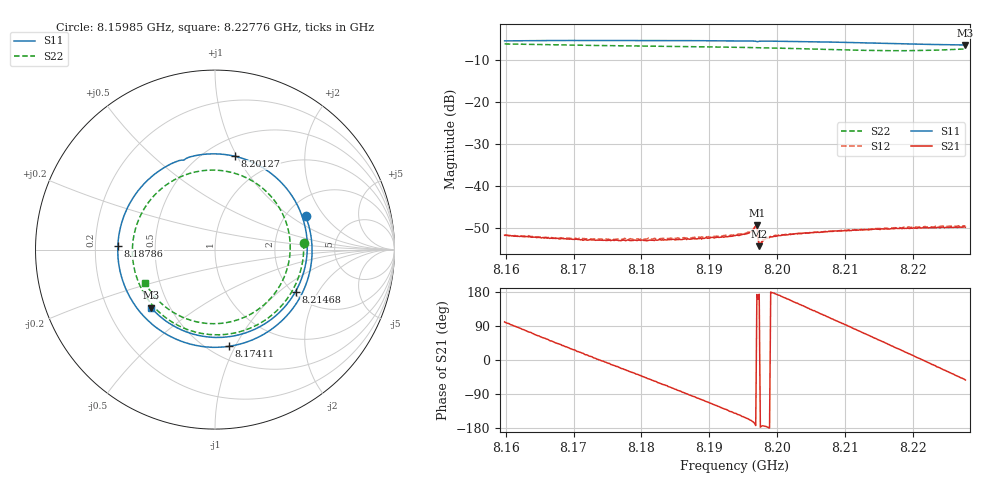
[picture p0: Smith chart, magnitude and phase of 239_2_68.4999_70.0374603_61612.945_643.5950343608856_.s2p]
#  HZ  S  RI  R  50.00
! Rohde & Schwarz Vector Network Analyzer
! Rohde-Schwarz,ZNB20-2Port,1311601062101988,3.16
! Created: UTC 3/20/2024, 4:59:16 PM
! freq[Hz]  re:S11  im:S11  re:S21  im:S21  re:S12  im:S12  re:S22  im:S22
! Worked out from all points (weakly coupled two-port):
!   401 points, 8.15985 GHz to 8.22776 GHz, reference 50 ohm
!   highest |S21| = -49.34 dB at 8.19703 GHz (marker M1); lowest = -54.3 dB at 8.19737 GHz (marker M2)
!   lowest |S11| = -6.4 dB at 8.22776 GHz (marker M3), VSWR 2.85, Z = 19.8 - j16.6 ohm
!   |S11| at or under -10 dB: nowhere
!   |S22| runs from -7.7 to -6.1 dB; largest |S21 - S12| = 0.00023
!   S11 on the Smith chart (normalised r, x): 8.15985 GHz: 2.54, +1.33; 8.17411 GHz: 0.62, -0.95; 8.18786 GHz: 0.30, +0.02; 8.20127 GHz: 0.68, +0.98; 8.21468 GHz: 2.07, -1.31; 8.22776 GHz: 0.40, -0.33
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8.159847e9  0.5053 0.1857  -0.000472 0.00255  -0.00046 0.00252  0.4938 0.0352
8.16528e9  0.5145 -0.1724  0.00118 0.00209  0.00117 0.00213  0.4038 -0.2714
8.171222e9  0.2651 -0.4756  0.00218 0.000727  0.00224 0.000775  0.1225 -0.4616
8.174108e9  0.0798 -0.5386  0.00226 -7.99e-05  0.00233 -5.56e-05  -0.0419 -0.4717
8.178182e9  -0.1949 -0.508  0.00196 -0.00112  0.00202 -0.00114  -0.2567 -0.392
8.182596e9  -0.4349 -0.3257  0.00113 -0.00199  0.00112 -0.00206  -0.4157 -0.206
8.187859e9  -0.5415 0.0181  -0.000284 -0.00233  -0.000336 -0.00243  -0.4516 0.0798
8.190746e9  -0.4964 0.2138  -0.00112 -0.00212  -0.00126 -0.00216  -0.394 0.2285
8.193802e9  -0.3737 0.3883  -0.00197 -0.00163  -0.00208 -0.00161  -0.2803 0.354
8.196688e9  -0.1999 0.4959  -0.00311 -0.000711  -0.00315 -0.00057  -0.1361 0.4258
8.197027e9  -0.1756 0.4981  -0.00338 0.000426  -0.0034 0.000567  -0.1175 0.4306
8.197367e9  -0.1623 0.5071  -0.00191 0.000212  -0.0019 0.000277  -0.099 0.4347
8.197706e9  -0.1383 0.5166  -0.0021 -0.000198  -0.00216 -0.000133  -0.0801 0.438
8.198725e9  -0.0662 0.5305  -0.00241 -8.01e-05  -0.00244 -9.67e-06  -0.0225 0.4429
8.201272e9  0.113 0.5194  -0.00249 0.000743  -0.0025 0.000886  0.1203 0.422
8.205176e9  0.3533 0.3894  -0.00185 0.00209  -0.00177 0.00211  0.3081 0.301
8.2101e9  0.5099 0.083  -0.000134 0.00293  -6.91e-05 0.00295  0.4188 0.0355
8.214684e9  0.4485 -0.2346  0.00174 0.00253  0.00182 0.00252  0.3416 -0.2318
8.216551e9  0.3673 -0.3416  0.00233 0.002  0.00247 0.00195  0.2605 -0.3184
8.219437e9  0.1939 -0.4554  0.003 0.000888  0.00315 0.000825  0.0936 -0.4008
8.222154e9  0.00126 -0.4895  0.00316 -0.000312  0.00322 -0.000433  -0.0861 -0.4058
8.227756e9  -0.3562 -0.3232  0.00195 -0.00258  0.00192 -0.00276  -0.3879 -0.188
